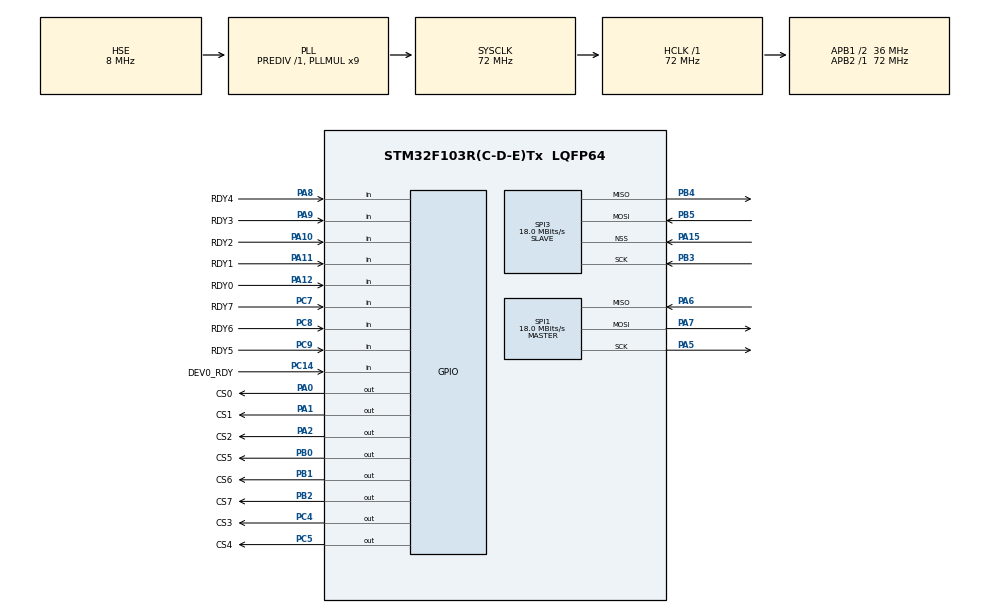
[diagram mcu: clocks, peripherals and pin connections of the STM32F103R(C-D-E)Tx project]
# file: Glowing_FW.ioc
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Dma.Request0=SPI3_RX
Dma.Request1=SPI3_TX
Dma.SPI3_RX.0.Direction=DMA_PERIPH_TO_MEMORY
Dma.SPI3_RX.0.Instance=DMA2_Channel1
Dma.SPI3_RX.0.MemDataAlignment=DMA_MDATAALIGN_BYTE
Dma.SPI3_RX.0.MemInc=DMA_MINC_ENABLE
Dma.SPI3_RX.0.Mode=DMA_NORMAL
Dma.SPI3_RX.0.PeriphDataAlignment=DMA_PDATAALIGN_BYTE
Dma.SPI3_RX.0.PeriphInc=DMA_PINC_DISABLE
Dma.SPI3_RX.0.Priority=DMA_PRIORITY_VERY_HIGH
Dma.SPI3_TX.1.Direction=DMA_MEMORY_TO_PERIPH
Dma.SPI3_TX.1.Instance=DMA2_Channel2
Dma.SPI3_TX.1.MemDataAlignment=DMA_MDATAALIGN_BYTE
Dma.SPI3_TX.1.MemInc=DMA_MINC_ENABLE
Dma.SPI3_TX.1.Mode=DMA_NORMAL
Dma.SPI3_TX.1.PeriphDataAlignment=DMA_PDATAALIGN_BYTE
Dma.SPI3_TX.1.PeriphInc=DMA_PINC_DISABLE
Dma.SPI3_TX.1.Priority=DMA_PRIORITY_VERY_HIGH
Mcu.Family=STM32F1
Mcu.Name=STM32F103R(C-D-E)Tx
Mcu.Package=LQFP64
NVIC.DMA2_Channel1_IRQn=true\:1\:0\:true\:false\:true
NVIC.DMA2_Channel2_IRQn=true\:1\:0\:true\:false\:true
NVIC.PriorityGroup=NVIC_PRIORITYGROUP_4
NVIC.SPI1_IRQn=true\:1\:0\:true\:false\:true
NVIC.SPI3_IRQn=true\:0\:0\:true\:false\:true
PA0-WKUP.GPIO_Label=CS0
PA0-WKUP.Signal=GPIO_Output
PA1.GPIO_Label=CS1
PA1.Signal=GPIO_Output
PA10.GPIO_Label=RDY2
PA10.Signal=GPIO_Input
PA11.GPIO_Label=RDY1
PA11.Signal=GPIO_Input
PA12.GPIO_Label=RDY0
PA12.Signal=GPIO_Input
PA13.Mode=Serial_Wire
PA13.Signal=SYS_JTMS-SWDIO
PA14.Mode=Serial_Wire
PA14.Signal=SYS_JTCK-SWCLK
PA15.Mode=NSS_Signal_Hard_Input
PA15.Signal=SPI3_NSS
PA2.GPIO_Label=CS2
PA2.Signal=GPIO_Output
PA5.Mode=Full_Duplex_Master
PA5.Signal=SPI1_SCK
PA6.Mode=Full_Duplex_Master
PA6.Signal=SPI1_MISO
PA7.Mode=Full_Duplex_Master
PA7.Signal=SPI1_MOSI
PA8.GPIO_Label=RDY4
PA8.Signal=GPIO_Input
PA9.GPIO_Label=RDY3
PA9.Signal=GPIO_Input
PB0.GPIO_Label=CS5
PB0.Signal=GPIO_Output
PB1.GPIO_Label=CS6
PB1.Signal=GPIO_Output
PB2.GPIO_Label=CS7
PB2.Signal=GPIO_Output
PB3.Mode=Full_Duplex_Slave
PB3.Signal=SPI3_SCK
PB4.Mode=Full_Duplex_Slave
PB4.Signal=SPI3_MISO
PB5.Mode=Full_Duplex_Slave
PB5.Signal=SPI3_MOSI
PC14-OSC32_IN.GPIO_Label=DEV0_RDY
PC14-OSC32_IN.GPIO_PuPd=GPIO_NOPULL
PC14-OSC32_IN.Signal=GPIO_Input
PC4.GPIO_Label=CS3
PC4.Signal=GPIO_Output
PC5.GPIO_Label=CS4
PC5.Signal=GPIO_Output
PC7.GPIO_Label=RDY7
PC7.Signal=GPIO_Input
PC8.GPIO_Label=RDY6
PC8.Signal=GPIO_Input
PC9.GPIO_Label=RDY5
PC9.Signal=GPIO_Input
PD0-OSC_IN.Mode=HSE-External-Oscillator
PD0-OSC_IN.Signal=RCC_OSC_IN
PD1-OSC_OUT.Mode=HSE-External-Oscillator
PD1-OSC_OUT.Signal=RCC_OSC_OUT
ProjectManager.HeapSize=0x200
ProjectManager.StackSize=0x400
ProjectManager.TargetToolchain=SW4STM32
RCC.AHBFreq_Value=72000000
RCC.APB1CLKDivider=RCC_HCLK_DIV2
RCC.APB1Freq_Value=36000000
RCC.APB1TimFreq_Value=72000000
RCC.APB2Freq_Value=72000000
RCC.APB2TimFreq_Value=72000000
RCC.HCLKFreq_Value=72000000
RCC.PLLMUL=RCC_PLL_MUL9
RCC.PLLSourceVirtual=RCC_PLLSOURCE_HSE
RCC.SYSCLKFreq_VALUE=72000000
RCC.SYSCLKSource=RCC_SYSCLKSOURCE_PLLCLK
RCC.USBFreq_Value=72000000
SPI1.BaudRatePrescaler=SPI_BAUDRATEPRESCALER_4
SPI1.CLKPhase=SPI_PHASE_2EDGE
SPI1.CLKPolarity=SPI_POLARITY_LOW
SPI1.CalculateBaudRate=18.0 MBits/s
SPI1.Direction=SPI_DIRECTION_2LINES
SPI1.Mode=SPI_MODE_MASTER
SPI1.VirtualType=VM_MASTER
SPI3.BaudRatePrescaler=SPI_BAUDRATEPRESCALER_2
SPI3.CLKPhase=SPI_PHASE_2EDGE
SPI3.CalculateBaudRate=18.0 MBits/s
SPI3.Direction=SPI_DIRECTION_2LINES
SPI3.Mode=SPI_MODE_SLAVE
SPI3.VirtualNSS=VM_NSSHARD
SPI3.VirtualType=VM_SLAVE
board=Glowing_FW

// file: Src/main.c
/**
  ******************************************************************************
  * File Name          : main.c
  * Description        : Main program body
  ******************************************************************************
  ** This notice applies to any and all portions of this file
  * that are not between comment pairs USER CODE BEGIN and
  * USER CODE END. Other portions of this file, whether
  * inserted by the user or by software development tools
  * are owned by their respective copyright owners.
  *
  * COPYRIGHT(c) 2018 STMicroelectronics
  *
  * Redistribution and use in source and binary forms, with or without modification,
  * are permitted provided that the following conditions are met:
  *   1. Redistributions of source code must retain the above copyright notice,
  *      this list of conditions and the following disclaimer.
  *   2. Redistributions in binary form must reproduce the above copyright notice,
  *      this list of conditions and the following disclaimer in the documentation
  *      and/or other materials provided with the distribution.
  *   3. Neither the name of STMicroelectronics nor the names of its contributors
  *      may be used to endorse or promote products derived from this software
  *      without specific prior written permission.
  *
  * THIS SOFTWARE IS PROVIDED BY THE COPYRIGHT HOLDERS AND CONTRIBUTORS "AS IS"
  * AND ANY EXPRESS OR IMPLIED WARRANTIES, INCLUDING, BUT NOT LIMITED TO, THE
  * IMPLIED WARRANTIES OF MERCHANTABILITY AND FITNESS FOR A PARTICULAR PURPOSE ARE
  * DISCLAIMED. IN NO EVENT SHALL THE COPYRIGHT HOLDER OR CONTRIBUTORS BE LIABLE
  * FOR ANY DIRECT, INDIRECT, INCIDENTAL, SPECIAL, EXEMPLARY, OR CONSEQUENTIAL
  * DAMAGES (INCLUDING, BUT NOT LIMITED TO, PROCUREMENT OF SUBSTITUTE GOODS OR
  * SERVICES; LOSS OF USE, DATA, OR PROFITS; OR BUSINESS INTERRUPTION) HOWEVER
  * CAUSED AND ON ANY THEORY OF LIABILITY, WHETHER IN CONTRACT, STRICT LIABILITY,
  * OR TORT (INCLUDING NEGLIGENCE OR OTHERWISE) ARISING IN ANY WAY OUT OF THE USE
  * OF THIS SOFTWARE, EVEN IF ADVISED OF THE POSSIBILITY OF SUCH DAMAGE.
  *
  ******************************************************************************
  */
#include "main.h"
#include "stm32f1xx_hal.h"
#include "dma.h"
#include "spi.h"
#include "gpio.h"

/* USER CODE BEGIN Includes */
#include "ad7730.h"
/* USER CODE END Includes */

/* USER CODE BEGIN PV */
/* Private variables ---------------------------------------------------------*/
uint8_t tx_buffer_3[BUFFER_SIZE_SPI3];

/* RX_BUFFER FORMAT
 * shadow_buffer[0:slave_state, 1:update_mode_params, 2-3:mode_params{w/o channel}, 4:update_filter_params, 5-7:filter_params]
 */
uint8_t rx_buffer_3[BUFFER_SIZE_SPI3] = {READ_CONFIG,0,0x51,0xB4,0,0x08,0x43,0x00, //Configuration row
										 0,0,0,0,0,0,0,0,
										 0,0,0,0,0,0,0,0,
										 0,0,0,0,0,0,0,0,
										 0,0,0,0,0,0,0,0,
										 0,0,0,0,0,0,0,0,
										 0,0,0,0,0,0,0,0,
										 0,0,0,0,0,0,0,0};

/* SHADOW_BUFFER FORMAT
 * shadow_buffer[0...47:channel_1-16, 63:slave_state]
 */
uint8_t shadow_buffer_3_0[BUFFER_SIZE_SPI3];
uint8_t shadow_buffer_3_1[BUFFER_SIZE_SPI3];

uint8_t tx_buffer_1[BUFFER_SIZE_SPI1];
uint8_t rx_buffer_1[BUFFER_SIZE_SPI1];

/*
 * DEBUG_BUFFER
 */
uint8_t shadow_buffer_3_2[BUFFER_SIZE_SPI3] = {0,0,1,0,0,1,0,0,
											   1,0,0,1,0,0,1,0,
											   0,1,0,0,1,0,0,1,
											   0,0,1,0,0,1,0,0,
											   1,0,0,1,0,0,1,0,
											   0,1,0,0,1,0,0,1,
											   0,0,1,0,0,1,0,0,
											   1,0,0,1,0,0,0,0};

Controller_State slave_state = READ_CONFIG;
uint8_t active_buffer = 0;
uint8_t buffer_updated = 0;

// Parameters
uint8_t AD7730_REGISTER_SIZE[TRANSDUCER_NUMBER] = {1, 3, 2, 3, 1, 3, 3, 3};
uint8_t mode_register[2] = {0x51, 0xB4};
uint8_t filter_register[3] = {0x08,0x43, 0x00};

/* USER CODE END PV */

void SystemClock_Config(void);

/* USER CODE BEGIN PFP */
/* Private function prototypes -----------------------------------------------*/

static inline void copy_buffer(uint8_t dest_buffer[], uint8_t dest_size, uint8_t src_buffer[], uint8_t src_size) {
  for (uint8_t idx = 0; idx < src_size; idx++) {
    dest_buffer[idx] = src_buffer[idx];
  }
}

static inline void set_state(uint8_t command_idx) {
  switch (command_idx) {
    case 0xFD:
      slave_state = MONITOR;
      break;

    case 0xFC:
      slave_state = PROVIDE_DATA;
      break;

    default:
      slave_state = READ_CONFIG;
  }
}

void HAL_SPI_TxRxCpltCallback(SPI_HandleTypeDef *hspi) {

  if (hspi->Instance == SPI3) {
    switch (active_buffer) {
      case 0:
        shadow_buffer_3_1[63] = slave_state;
        HAL_SPI_TransmitReceive_DMA(&hspi3, shadow_buffer_3_1, rx_buffer_3, BUFFER_SIZE_SPI3);
        buffer_updated = 1;
        break;

      case 1:
        shadow_buffer_3_0[63] = slave_state;
        HAL_SPI_TransmitReceive_DMA(&hspi3, shadow_buffer_3_0, rx_buffer_3, BUFFER_SIZE_SPI3);
        buffer_updated = 1;
        break;
    }

    set_state(rx_buffer_3[0]);
    if (rx_buffer_3[1] != 0)
    {
    	mode_register[0] = rx_buffer_3[2];
    	mode_register[1] = rx_buffer_3[3];
    }
    if (rx_buffer_3[4] != 0)
    {
    	filter_register[0] = rx_buffer_3[5];
    	filter_register[1] = rx_buffer_3[6];
    	filter_register[2] = rx_buffer_3[7];
    }
  }

}
/* USER CODE END PFP */

int main(void)
{

  /* MCU Configuration----------------------------------------------------------*/

  /* Reset of all peripherals, Initializes the Flash interface and the Systick. */
  HAL_Init();

  /* Configure the system clock */
  SystemClock_Config();

  /* Initialize all configured peripherals */
  MX_GPIO_Init();
  MX_DMA_Init();
  MX_SPI3_Init();
  MX_SPI1_Init();

  /* USER CODE BEGIN 2 */
  static struct Transducer_SS_Info slave_infos[8] = { { CS0_Pin, CS0_GPIO_Port }, { CS1_Pin, CS1_GPIO_Port }, { CS2_Pin,
      CS2_GPIO_Port }, { CS3_Pin, CS3_GPIO_Port }, { CS4_Pin, CS4_GPIO_Port }, { CS5_Pin, CS5_GPIO_Port }, { CS6_Pin,
      CS6_GPIO_Port }, { CS7_Pin, CS7_GPIO_Port } };

  static struct Transducer_RDY_Info ready_infos[8] = { { RDY0_Pin, RDY0_GPIO_Port }, { RDY1_Pin, RDY1_GPIO_Port }, {
      RDY2_Pin, RDY2_GPIO_Port }, { RDY3_Pin, RDY3_GPIO_Port }, { RDY4_Pin, RDY4_GPIO_Port },
      { RDY5_Pin, RDY5_GPIO_Port }, { RDY6_Pin, RDY6_GPIO_Port }, { RDY7_Pin, RDY7_GPIO_Port } };

  /* USER CODE END 2 */

  /* Infinite loop */
  /* USER CODE BEGIN WHILE */

  for (uint8_t dev_idx = 0; dev_idx < TRANSDUCER_NUMBER; dev_idx++) {
    ad7730_softreset(dev_idx, slave_infos);
  }
  HAL_SPI_TransmitReceive_DMA(&hspi3, tx_buffer_3, rx_buffer_3, BUFFER_SIZE_SPI3);

  while (1) {
  /* USER CODE END WHILE */

  /* USER CODE BEGIN 3 */
    switch (slave_state) {

      case READ_CONFIG:
        break;

      case PROVIDE_DATA:
        break;

      case MONITOR:

        /*
         * Reason for using six instead of one big loop:
         *
         * To give load cell controllers as much time
         * as possible for processing the input without waiting
         * data is send to the controllers one by one.
         * Doing so the time used for sending data to the
         * remaining controllers gives the first one time to process the input.
         *
         */
        for (uint8_t dev_idx = 0; dev_idx < TRANSDUCER_NUMBER; dev_idx++) {
          ad7730_set_filter(dev_idx, slave_infos);
        }

        for (uint8_t dev_idx = 0; dev_idx < TRANSDUCER_NUMBER; dev_idx++) {
          uint8_t conversion_command[2] = {mode_register[0], mode_register[1] | CHANNEL_A1};
          ad7730_write_register(dev_idx, REG_MODE_REGISTER, conversion_command, slave_infos);
        }

        //TODO Make do while loop
        for (uint8_t dev_idx = 0; dev_idx < TRANSDUCER_NUMBER; dev_idx++) {
          while (HAL_GPIO_ReadPin(ready_infos[dev_idx].rdy_port, ready_infos[dev_idx].rdy_pin) == GPIO_PIN_SET) {
        	  //uint8_t dbg = dev_idx;
          }
          ad7730_read_register(dev_idx, REG_DATA_REGISTER, &tx_buffer_3[dev_idx * 6], slave_infos);
        }

        for (uint8_t dev_idx = 0; dev_idx < TRANSDUCER_NUMBER; dev_idx++) {
          ad7730_set_filter(dev_idx, slave_infos);
        }

        for (uint8_t dev_idx = 0; dev_idx < TRANSDUCER_NUMBER; dev_idx++) {
          uint8_t conversion_command[2] = {mode_register[0], mode_register[1] | CHANNEL_A2};
          ad7730_write_register(dev_idx, REG_MODE_REGISTER, conversion_command, slave_infos);
        }

        for (uint8_t dev_idx = 0; dev_idx < TRANSDUCER_NUMBER; dev_idx++) {
          while (HAL_GPIO_ReadPin(ready_infos[dev_idx].rdy_port, ready_infos[dev_idx].rdy_pin) == GPIO_PIN_SET) {
        	  //uint8_t dbg = dev_idx;
          }
          ad7730_read_register(dev_idx, REG_DATA_REGISTER, &tx_buffer_3[(dev_idx * 6) + 3], slave_infos);
        }

        /*
         * Switch shadow buffer when new data is available
         * and set indicator flag for SPI-slave callback
         */
        if (buffer_updated == 1) {
          switch (active_buffer) {
            case 0:
              copy_buffer(shadow_buffer_3_0, BUFFER_SIZE_SPI3, tx_buffer_3, BUFFER_SIZE_SPI3);
              break;

            case 1:
              copy_buffer(shadow_buffer_3_1, BUFFER_SIZE_SPI3, tx_buffer_3, BUFFER_SIZE_SPI3);
              break;
          }
          active_buffer ^= 1;
          buffer_updated = 0;
        }

        break;

    }
  }
  /* USER CODE END 3 */

}

/** System Clock Configuration
*/
void SystemClock_Config(void)
{

  RCC_OscInitTypeDef RCC_OscInitStruct;
  RCC_ClkInitTypeDef RCC_ClkInitStruct;

    /**Initializes the CPU, AHB and APB busses clocks
    */
  RCC_OscInitStruct.OscillatorType = RCC_OSCILLATORTYPE_HSE;
  RCC_OscInitStruct.HSEState = RCC_HSE_ON;
  RCC_OscInitStruct.HSEPredivValue = RCC_HSE_PREDIV_DIV1;
  RCC_OscInitStruct.HSIState = RCC_HSI_ON;
  RCC_OscInitStruct.PLL.PLLState = RCC_PLL_ON;
  RCC_OscInitStruct.PLL.PLLSource = RCC_PLLSOURCE_HSE;
  RCC_OscInitStruct.PLL.PLLMUL = RCC_PLL_MUL9;
  if (HAL_RCC_OscConfig(&RCC_OscInitStruct) != HAL_OK)
  {
    _Error_Handler(__FILE__, __LINE__);
  }

    /**Initializes the CPU, AHB and APB busses clocks
    */
  RCC_ClkInitStruct.ClockType = RCC_CLOCKTYPE_HCLK|RCC_CLOCKTYPE_SYSCLK
                              |RCC_CLOCKTYPE_PCLK1|RCC_CLOCKTYPE_PCLK2;
  RCC_ClkInitStruct.SYSCLKSource = RCC_SYSCLKSOURCE_PLLCLK;
  RCC_ClkInitStruct.AHBCLKDivider = RCC_SYSCLK_DIV1;
  RCC_ClkInitStruct.APB1CLKDivider = RCC_HCLK_DIV2;
  RCC_ClkInitStruct.APB2CLKDivider = RCC_HCLK_DIV1;

  if (HAL_RCC_ClockConfig(&RCC_ClkInitStruct, FLASH_LATENCY_2) != HAL_OK)
  {
    _Error_Handler(__FILE__, __LINE__);
  }

    /**Configure the Systick interrupt time
    */
  HAL_SYSTICK_Config(HAL_RCC_GetHCLKFreq()/1000);

    /**Configure the Systick
    */
  HAL_SYSTICK_CLKSourceConfig(SYSTICK_CLKSOURCE_HCLK);

  /* SysTick_IRQn interrupt configuration */
  HAL_NVIC_SetPriority(SysTick_IRQn, 0, 0);
}

void _Error_Handler(char * file, int line)
{
  while(1)
  {
  }
}

/************************ (C) COPYRIGHT STMicroelectronics *****END OF FILE****/
